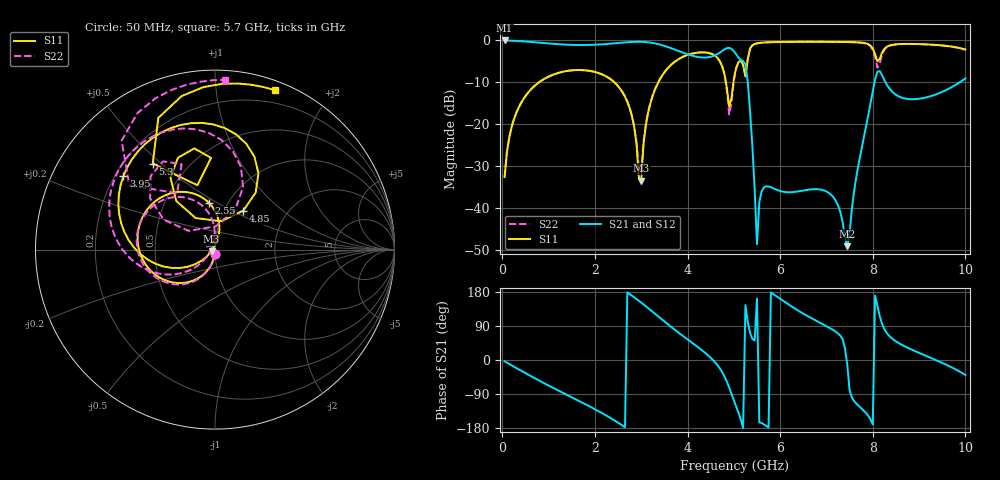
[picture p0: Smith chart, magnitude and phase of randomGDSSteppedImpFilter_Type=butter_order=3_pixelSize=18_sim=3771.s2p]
! freq	dB(S11)	phase(S11)	dB(S12)	phase(S12)
!  dB(S21)	phase(S21)	dB(S22)	phase(S22)
!S-par simulation data
#  GHz  S  DB  R 50
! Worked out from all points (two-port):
!   200 points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, 50 MHz to 10 GHz, reference 50 ohm
!   highest |S21| = -0.01 dB at 50 MHz (marker M1); lowest = -49.2 dB at 7.45 GHz (marker M2)
!   |S21| within 3 dB of the highest: start of sweep to 3.922 GHz; 4.682 GHz to 5.028 GHz (346.8 MHz wide, 7.14 % of centre)
!   lowest |S11| = -33.5 dB at 3 GHz (marker M3), VSWR 1.04, Z = 48.1 - j0.816 ohm
!   |S11| at or under -10 dB: start of sweep to 795.9 MHz; 2.418 GHz to 3.37 GHz (951.2 MHz wide, 32.9 % of centre); 4.828 GHz to 4.991 GHz (163.4 MHz wide, 3.33 % of centre)
!   |S22| runs from -32.7 to -0.3 dB; largest |S21 - S12| = 0
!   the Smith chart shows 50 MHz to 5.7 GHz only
!   S11 on the Smith chart (normalised r, x): 50 MHz: 1.00, -0.05; 2.55 GHz: 0.82, +0.46; 3.95 GHz: 0.23, +0.33; 4.85 GHz: 1.23, +0.57; 5.3 GHz: 0.32, +0.47; 5.7 GHz: 0.08, +1.44
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0.05  -32.69 -93.7  -0.01 -3.6  -0.01 -3.6  -32.69 -93.5
0.5  -13.31 -126.0  -0.26 -34.7  -0.26 -34.7  -13.31 -124.3
1.75  -7.11 152.8  -1.10 -113.9  -1.10 -113.9  -7.11 159.0
2.55  -11.63 97.2  -0.56 -169.2  -0.56 -169.2  -11.62 107.4
3  -33.50 -156.4  -0.33 151.4  -0.33 151.4  -31.08 -164.1
3.1  -20.19 -140.6  -0.40 141.7  -0.40 141.7  -20.02 -136.2
3.4  -9.35 -166.6  -0.98 111.7  -0.98 111.7  -9.33 -157.0
3.95  -3.69 141.4  -3.12 58.9  -3.12 58.9  -3.68 153.6
4.5  -3.13 90.8  -3.92 6.0  -3.92 6.0  -3.14 104.3
4.85  -11.45 54.0  -1.84 -57.5  -1.84 -57.5  -11.94 63.3
4.9  -15.82 77.7  -1.78 -72.8  -1.78 -72.8  -17.71 87.9
5.05  -6.54 121.8  -3.33 -122.8  -3.33 -122.8  -6.73 141.7
5.2  -5.82 92.5  -4.92 -179.5  -4.92 -179.5  -5.84 111.4
5.3  -4.56 125.9  -9.85 101.0  -9.85 101.0  -4.48 143.1
5.5  -0.69 87.7  -48.74 162.2  -48.74 162.2  -0.70 105.1
5.55  -0.59 82.3  -38.71 -164.4  -38.71 -164.4  -0.61 99.7
5.7  -0.46 69.4  -34.88 -173.9  -34.88 -173.9  -0.47 86.8
6.7  -0.32 14.0  -35.59 108.7  -35.59 108.7  -0.33 30.5
7.45  -0.38 -19.5  -49.20 -13.3  -49.20 -13.3  -0.39 -5.0
8.05  -3.32 -55.6  -9.29 169.9  -9.29 169.9  -4.04 -47.0
8.35  -1.26 -40.5  -11.36 64.3  -11.36 64.3  -1.36 -25.3
10  -2.18 -118.6  -9.09 -39.6  -9.09 -39.6  -2.21 -110.7
